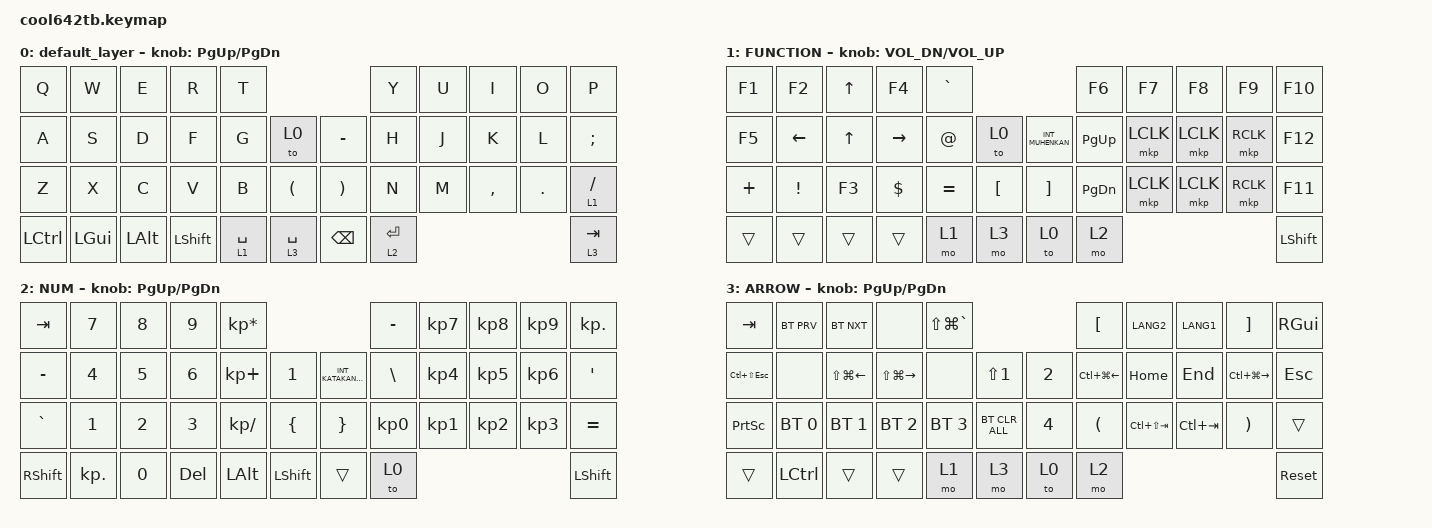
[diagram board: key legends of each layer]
#include <behaviors.dtsi>
#include <dt-bindings/zmk/bt.h>
#include <dt-bindings/zmk/keys.h>
#include <dt-bindings/zmk/pointing.h>

#define ZMK_MOUSE_DEFAULT_SCRL_VAL 100
#define MOUSE 4
#define SCROLL 5
#define NUM 6

&mt {
    flavor = "balanced";
    quick-tap-ms = <0>;
};

/ {
    combos {
        compatible = "zmk,combos";

        comb1 {
            bindings = <&kp TAB>;
            key-positions = <11 10>;
        };

        comb2 {
            bindings = <&kp LS(ESCAPE)>;
            key-positions = <0 1>;
        };

        comb3 {
            bindings = <&kp CAPSLOCK>;
            key-positions = <22 23>;
        };

        comb4 {
            bindings = <&kp BACKSPACE>;
            key-positions = <9 8>;
        };

        comb5 {
            bindings = <&bt BT_CLR_ALL>;
            key-positions = <9 8>;
            timeout-ms = <0>;
            layers = <2>;
        };
    };

    macros {
        to_layer_0: to_layer_0 {
            compatible = "zmk,behavior-macro-one-param";
            #binding-cells = <1>;
            bindings = <&to 0 &macro_param_1to1 &kp MACRO_PLACEHOLDER>;
            label = "TO_LAYER_0";
        };
    };

    behaviors {
        lt_to_layer_0: lt_to_layer_0 {
            compatible = "zmk,behavior-hold-tap";
            label = "LAYER_TAP_TO_0";
            bindings = <&mo>, <&to_layer_0>;

            #binding-cells = <2>;
            tapping-term-ms = <200>;
        };

        scroll_up_down: behavior_sensor_rotate_mouse_wheel_up_down {
            compatible = "zmk,behavior-sensor-rotate";
            #sensor-binding-cells = <0>;
            bindings = <&msc SCRL_UP>, <&msc SCRL_DOWN>;

            tap-ms = <20>;
        };
    };

    keymap {
        compatible = "zmk,keymap";

        default_layer {
            bindings = <
&kp Q             &kp W         &kp E         &kp R           &kp T                                                     &kp Y        &kp U  &kp I      &kp O       &kp P
&kp A             &kp S         &kp D         &kp F           &kp G        &to 0                 &kp MINUS              &kp H        &kp J  &kp K      &kp L       &kp SEMICOLON
&kp Z             &kp X         &kp C         &kp V           &kp B        &kp LEFT_PARENTHESIS  &kp RIGHT_PARENTHESIS  &kp N        &kp M  &kp COMMA  &kp PERIOD  &lt 1 SLASH
&kp LEFT_CONTROL  &kp LEFT_GUI  &kp LEFT_ALT  &kp LEFT_SHIFT  &lt 1 SPACE  &lt 3 SPACE           &kp BACKSPACE          &lt 2 ENTER                                &lt 3 TAB
            >;

            sensor-bindings = <&inc_dec_kp PAGE_UP PAGE_DOWN>;
        };

        FUNCTION {
            bindings = <
&kp F1    &kp F2          &kp UP_ARROW  &kp F4           &kp GRAVE                                       &kp F6         &kp F7     &kp F8     &kp F9     &kp F10
&kp F5    &kp LEFT_ARROW  &kp UP_ARROW  &kp RIGHT_ARROW  &kp AT     &to 0             &kp INT_MUHENKAN   &kp PAGE_UP    &mkp LCLK  &mkp LCLK  &mkp RCLK  &kp F12
&kp PLUS  &kp EXCL        &kp F3        &kp DOLLAR       &kp EQUAL  &kp LEFT_BRACKET  &kp RIGHT_BRACKET  &kp PAGE_DOWN  &mkp LCLK  &mkp LCLK  &mkp RCLK  &kp F11
&trans    &trans          &trans        &trans           &mo 1      &mo 3             &to 0              &mo 2                                           &kp LEFT_SHIFT
            >;

            sensor-bindings = <&inc_dec_kp C_VOL_DN C_VOL_UP>;
        };

        NUM {
            bindings = <
&kp TAB     &kp NUMBER_7  &kp NUMBER_8  &kp NUMBER_9  &kp KP_ASTERISK                                            &kp MINUS        &kp KP_NUMBER_7  &kp KP_NUMBER_8  &kp KP_NUMBER_9  &kp KP_DOT
&kp MINUS   &kp NUMBER_4  &kp NUMBER_5  &kp NUMBER_6  &kp KP_PLUS      &kp N1          &kp INT_KATAKANAHIRAGANA  &kp BACKSLASH    &kp KP_NUMBER_4  &kp KP_NUMBER_5  &kp KP_NUMBER_6  &kp APOS
&kp GRAVE   &kp NUMBER_1  &kp NUMBER_2  &kp NUMBER_3  &kp KP_DIVIDE    &kp LEFT_BRACE  &kp RIGHT_BRACE           &kp KP_NUMBER_0  &kp KP_NUMBER_1  &kp KP_NUMBER_2  &kp KP_NUMBER_3  &kp EQUAL
&kp RSHIFT  &kp KP_DOT    &kp NUMBER_0  &kp DEL       &kp LEFT_ALT     &kp LEFT_SHIFT  &trans                    &to 0                                                               &kp LEFT_SHIFT
            >;

            sensor-bindings = <&inc_dec_kp PG_UP PAGE_DOWN>;
        };

        ARROW {
            bindings = <
&kp TAB          &bt BT_PRV    &bt BT_NXT              &none                    &kp LS(LG(GRAVE))                          &kp LEFT_BRACKET        &kp LANG2        &kp LANG1    &kp RIGHT_BRACKET        &kp RIGHT_GUI
&kp LC(LS(ESC))  &none         &kp LS(LG(LEFT_ARROW))  &kp LS(LG(RIGHT_ARROW))  &none              &kp LS(N1)      &kp N2  &kp LC(LG(LEFT_ARROW))  &kp HOME         &kp END      &kp LC(LG(RIGHT_ARROW))  &kp ESCAPE
&kp PRINTSCREEN  &bt BT_SEL 0  &bt BT_SEL 1            &bt BT_SEL 2             &bt BT_SEL 3       &bt BT_CLR_ALL  &kp N4  &kp LEFT_PARENTHESIS    &kp LC(LS(TAB))  &kp LC(TAB)  &kp RIGHT_PARENTHESIS    &trans
&trans           &kp LCTRL     &trans                  &trans                   &mo 1              &mo 3           &to 0   &mo 2                                                                          &sys_reset
            >;

            sensor-bindings = <&inc_dec_kp PG_UP PAGE_DOWN>;
        };
    };
};
